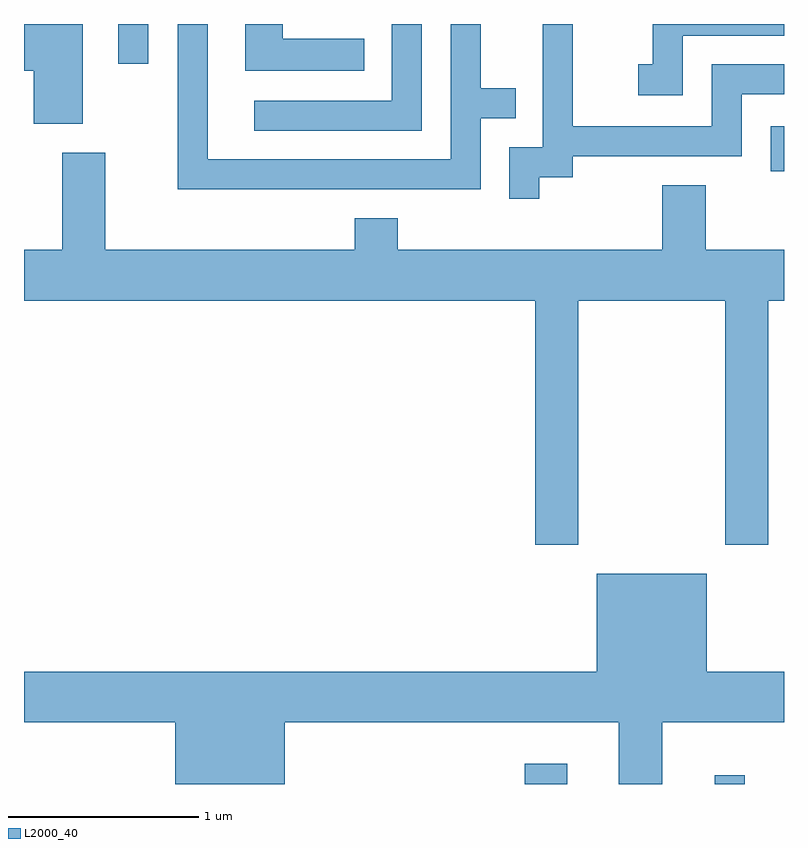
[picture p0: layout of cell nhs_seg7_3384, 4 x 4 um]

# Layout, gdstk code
import gdstk
lib = gdstk.Library(unit=1e-6, precision=1e-09)
def R(c, l, rs):  # rectangles x0, y0, x1, y1
    for r in rs: c.add(gdstk.rectangle(r[:2], r[2:], *l))
def P(c, l, *ps):  # polygons
    for p in ps: c.add(gdstk.Polygon(p, *l))
L2000_40 = (2000, 40)

nhs_seg7_3384 = lib.new_cell('nhs_seg7_3384')
R(nhs_seg7_3384, L2000_40, [(292.246,1676.252,292.469,1676.359), (293.246,1676.252,293.404,1676.298), (293.541,1679.478,293.611,1679.714), (290.106,1680.043,290.264,1680.252)])
P(nhs_seg7_3384, L2000_40, [(292.324,1679.446),(292.499,1679.446),(292.499,1679.556),(293.389,1679.556),(293.389,1679.881),(293.611,1679.881),(293.611,1680.039),(293.231,1680.039),(293.231,1679.714),(292.499,1679.714),(292.499,1680.252),(292.341,1680.252),(292.341,1679.604),(292.166,1679.604),(292.166,1679.333),(292.324,1679.333)],
  [(293.079,1680.191),(293.611,1680.191),(293.611,1680.252),(292.921,1680.252),(292.921,1680.039),(292.843,1680.039),(292.843,1679.876),(293.079,1679.876)],
  [(292.014,1679.756),(292.198,1679.756),(292.198,1679.914),(292.014,1679.914),(292.014,1680.252),(291.856,1680.252),(291.856,1679.539),(290.579,1679.539),(290.579,1680.252),(290.421,1680.252),(290.421,1679.381),(292.014,1679.381)],
  [(289.919,1680.252),(289.611,1680.252),(289.611,1680.006),(289.661,1680.006),(289.661,1679.726),(289.919,1679.726)],
  [(291.403,1680.174),(290.974,1680.174),(290.974,1680.252),(290.776,1680.252),(290.776,1680.006),(291.403,1680.006)],
  [(291.704,1680.252),(291.546,1680.252),(291.546,1679.849),(290.823,1679.849),(290.823,1679.691),(291.704,1679.691)],
  [(292.529,1678.796),(293.301,1678.796),(293.301,1677.511),(293.529,1677.511),(293.529,1678.796),(293.611,1678.796),(293.611,1679.064),(293.199,1679.064),(293.199,1679.404),(292.971,1679.404),(292.971,1679.064),(291.579,1679.064),(291.579,1679.229),(291.351,1679.229),(291.351,1679.064),(290.039,1679.064),(290.039,1679.574),(289.811,1679.574),(289.811,1679.064),(289.611,1679.064),(289.611,1678.796),(292.301,1678.796),(292.301,1677.511),(292.529,1677.511)],
  [(290.984,1676.576),(292.741,1676.576),(292.741,1676.252),(292.969,1676.252),(292.969,1676.576),(293.611,1676.576),(293.611,1676.844),(293.204,1676.844),(293.204,1677.359),(292.626,1677.359),(292.626,1676.844),(289.611,1676.844),(289.611,1676.576),(290.406,1676.576),(290.406,1676.252),(290.984,1676.252)])

lib.write_gds('nhs_seg7_3384.gds')
